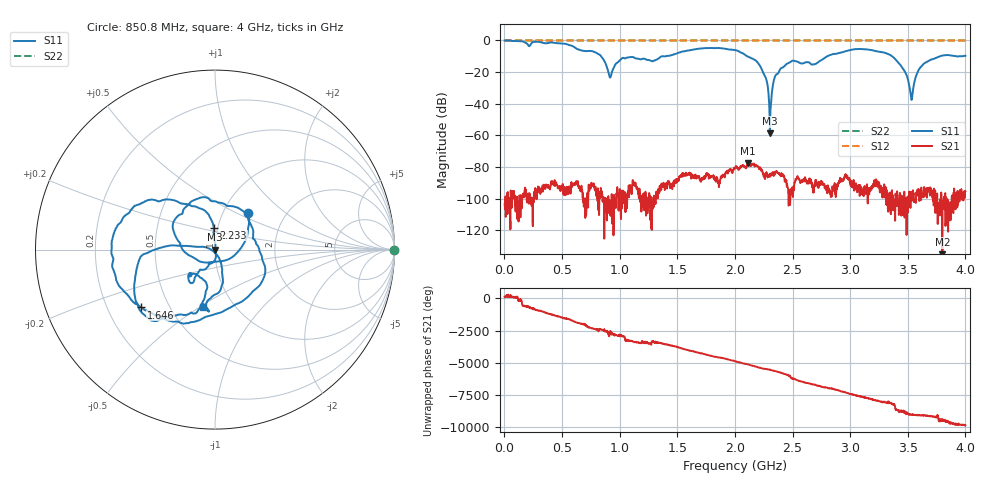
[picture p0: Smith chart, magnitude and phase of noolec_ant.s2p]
! Anritsu VNA Master:  Model: MS2024B
! SN:  2417009
! /card0/usr/noolec_ant.s2p
! Existing Calibration Information:
! TYPE:  Current Settings,  Active Cal Settings
! TIME:  09/01/2026 02:45:28 AM,  09/01/2026 02:42:37 AM
! INTERNAL TEMP:  43.0 C,  40.8 C
! # POINTS:  1601,  1601
! START FREQ:  1.000 MHz,  1.000 MHz
! STOP FREQ:  4.000 GHz,  4.000 GHz
! SOURCE POWER:  Default,  Default
! IFBW:  1 kHz,  1 kHz
! AVG FACTOR:  1 ,  1
! REF PLANE 1:  0 mm,  0 mm
! REF PLANE 2:  0 mm,  0 mm
! CAL TYPE:  Full S11,  Full S11
! CAL METHOD:  SOLT,  SOLT
! CAL LINE TYPE:  Coax,  Coax
! DUT PORT 1:  N-Conn(M),  N-Conn(M)
! DUT PORT 2:  N-Conn(M),  N-Conn(M)
! CAL STATUS:  OK: Accuracy High,  --
# GHZ S RI R 50.0
! FREQ.GHZ  S11RE  S11IM  S21RE  S21IM  S12RE  S12IM  S22RE  S22IM
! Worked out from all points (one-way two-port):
!   1601 points, 1 MHz to 4 GHz, reference 50 ohm
!   highest |S21| = -77.59 dB at 2.115 GHz (marker M1); lowest = -135.7 dB at 3.8 GHz (marker M2)
!   lowest |S11| = -58.7 dB at 2.303 GHz (marker M3), VSWR 1.00, Z = 49.9 + j0.0165 ohm
!   |S11| at or under -10 dB: 838.3 MHz to 1.368 GHz (529.9 MHz wide, 48 % of centre); 2.106 GHz to 2.801 GHz (694.6 MHz wide, 28.3 % of centre); 3.364 GHz to 3.78 GHz (415.8 MHz wide, 11.6 % of centre)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
!   |S22| runs from 0.0 to 0.0 dB; largest |S21 - S12| = 1
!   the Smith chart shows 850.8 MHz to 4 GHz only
!   S11 on the Smith chart (normalised r, x): 850.8 MHz: 1.30, +0.58; 1.646 GHz: 0.35, -0.31; 2.233 GHz: 0.96, +0.24; 4 GHz: 0.72, -0.52
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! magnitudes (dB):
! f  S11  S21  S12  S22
! 1 MHz  0.0  -103.6  0.0  0.0
! 668.3 MHz  -6.3  -91.8  0.0  0.0
! 850.8 MHz  -11.2  -101.9  0.0  0.0
! 918.3 MHz  -23.4  -104.5  0.0  0.0
! 1.026 GHz  -11.1  -102.3  0.0  0.0
! 1.336 GHz  -11.4  -95.7  0.0  0.0
! 1.646 GHz  -5.6  -85.3  0.0  0.0
! 2.001 GHz  -6.1  -80.8  0.0  0.0
! 2.115 GHz  -10.3  -77.6  0.0  0.0
! 2.233 GHz  -18.2  -81.6  0.0  0.0
! 2.27 GHz  -24.3  -85.3  0.0  0.0
! 2.303 GHz  -58.7  -86.1  0.0  0.0
! 2.348 GHz  -22.7  -83.6  0.0  0.0
! 2.408 GHz  -17.3  -85.3  0.0  0.0
! 2.668 GHz  -15.2  -89.7  0.0  0.0
! 3.035 GHz  -5.5  -94.9  0.0  0.0
! 3.335 GHz  -8.7  -105.2  0.0  0.0
! 3.465 GHz  -18.6  -100.9  0.0  0.0
! 3.533 GHz  -37.6  -101.5  0.0  0.0
! 3.618 GHz  -16.3  -93.0  0.0  0.0
! 3.8 GHz  -9.5  -135.7  0.0  0.0
! 4 GHz  -9.7  -95.3  0.0  0.0
